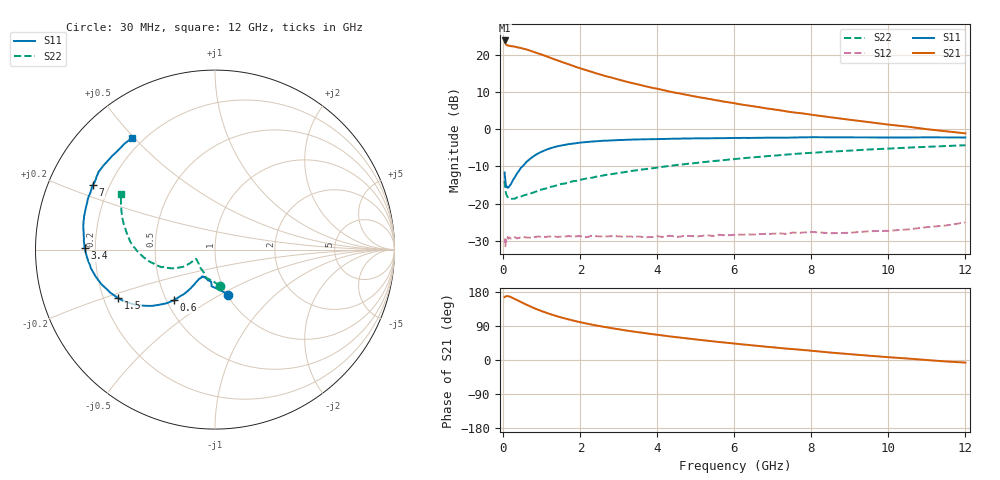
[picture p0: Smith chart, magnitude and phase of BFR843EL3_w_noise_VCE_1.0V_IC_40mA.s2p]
! Infineon Technologies  Discrete & RF Semiconductors
! BFR843EL3
! VCE =  1.0 V,  IC =  40 mA
! Common Emitter S-Parameters:  Aug 2013
# GHz  S  MA  R  50
!  f  S11  S21  S12  S22
! GHz  MAG  ANG  MAG  ANG  MAG  ANG  MAG  ANG
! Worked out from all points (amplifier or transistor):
!   103 points, 30 MHz to 12 GHz, reference 50 ohm
!   highest |S21| = 23.8 dB at 30 MHz (marker M1)
!   |S21| within 3 dB of that: start of sweep to 767.4 MHz
!   unconditionally stable (mu >= 1): start of sweep to end of sweep
!   at 400 MHz: K = 1.26, MAG = 22.5 dB, |S12| = -29.2 dB
!   at 3.7 GHz: K = 1.58, MAG = 15.8 dB, |S12| = -29.0 dB
!   at 12 GHz: K = 2.78, MAG = 4.6 dB, |S12| = -25.0 dB
!   lowest NFmin = 1.51 dB at 450 MHz
!   S11 on the Smith chart (normalised r, x): 30 MHz: 1.01, -0.55; 600 MHz: 0.54, -0.36; 1.5 GHz: 0.26, -0.22; 3.4 GHz: 0.16, +0.01; 7 GHz: 0.14, +0.24; 12 GHz: 0.16, +0.49
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0.03  0.2619 -73.4  15.51 166.0  0.03 26.4  0.2019 -82.6
0.04  0.2244 -83.7  14.7 166.6  0.0334 25.5  0.1727 -96.1
0.06  0.1792 -96.9  13.85 168.1  0.03 23.8  0.1446 -114.4
0.1  0.165 -110.9  13.36 168.7  0.0334 12.2  0.1252 -134.0
0.15  0.1707 -115.3  13.16 167.7  0.0351 8.6  0.1181 -144.7
0.3  0.2281 -120.9  12.78 160.7  0.0356 2.9  0.1168 -153.3
0.6  0.3642 -129.1  11.73 145.9  0.0351 5.1  0.1324 -152.9
0.8  0.4393 -135.5  10.84 136.7  0.0355 3.5  0.1425 -152.3
1  0.4998 -141.2  9.996 128.8  0.0358 5.3  0.1555 -151.7
1.2  0.5501 -146.6  9.152 121.6  0.0363 5.7  0.167 -151.5
1.5  0.604 -153.5  8.033 112.2  0.0361 6.0  0.1838 -151.4
1.8  0.639 -159.4  7.095 104.4  0.0363 4.7  0.1997 -151.7
2.1  0.6679 -164.5  6.301 97.4  0.0353 5.4  0.2145 -152.8
2.6  0.7001 -171.7  5.251 87.6  0.0363 7.6  0.2397 -154.4
3.4  0.7267 179.4  4.094 74.8  0.0356 9.5  0.2784 -158.4
4.1  0.7373 172.9  3.391 65.2  0.0359 12.5  0.3099 -161.6
5.1  0.7526 164.9  2.67 53.1  0.0366 15.9  0.356 -167.9
6.1  0.7625 158.0  2.177 42.3  0.0384 19.2  0.4016 -174.1
7  0.769 152.2  1.849 33.5  0.0396 21.0  0.4408 179.9
8.5  0.7781 142.9  1.444 19.6  0.0401 23.7  0.4994 169.6
10.5  0.7737 132.8  1.081 3.9  0.0451 33.8  0.565 157.4
12  0.7738 126.7  0.879 -6.8  0.0562 38.2  0.6086 149.5
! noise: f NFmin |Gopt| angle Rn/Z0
0.45  1.51  0.24  180  0.12
0.9  1.55  0.25  179  0.11
1.5  1.56  0.26  178  0.11
1.9  1.55  0.27  179  0.11
2.4  1.57  0.29  183  0.11
3.5  1.57  0.3  188  0.11
5.5  1.58  0.38  199  0.1
8  1.59  0.47  213  0.11
10  1.6  0.54  230  0.15
